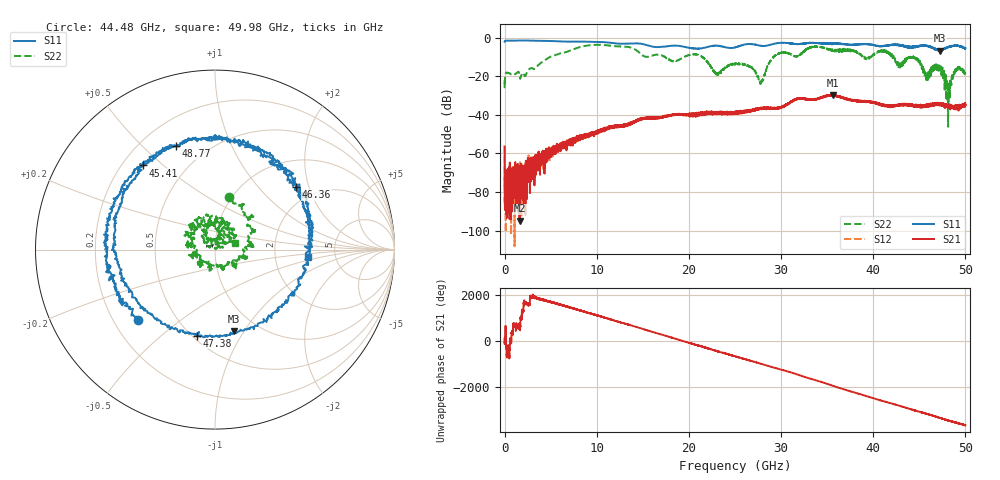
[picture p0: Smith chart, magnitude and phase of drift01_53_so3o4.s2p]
!Created with skrf (http://scikit-rf.org).
# Hz S RI R 50.0
!freq ReS11 ImS11 ReS21 ImS21 ReS12 ImS12 ReS22 ImS22
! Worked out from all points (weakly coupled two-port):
!   10001 points, 300 kHz to 50 GHz, reference 50 ohm
!   highest |S21| = -29.58 dB at 35.61 GHz (marker M1); lowest = -94.9 dB at 1.625 GHz (marker M2)
!   lowest |S11| = -6.6 dB at 47.2 GHz (marker M3), VSWR 2.76, Z = 38.8 - j45.3 ohm
!   |S11| at or under -10 dB: nowhere
!   |S22| runs from -46.1 to -3.6 dB; largest |S21 - S12| = 0.0039
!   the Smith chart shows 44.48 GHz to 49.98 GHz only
!   S11 on the Smith chart (normalised r, x): 44.48 GHz: 0.30, -0.36; 45.41 GHz: 0.28, +0.43; 46.36 GHz: 1.59, +1.65; 47.38 GHz: 0.53, -0.67; 48.77 GHz: 0.34, +0.64; 49.98 GHz: 3.14, -0.37
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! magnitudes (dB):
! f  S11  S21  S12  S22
! 300 kHz  -2.1  -56.5  -55.8  -22.0
! 255.3 MHz  -1.4  -69.7  -82.3  -18.0
! 1.625 GHz  -1.4  -94.9  -76.1  -20.0
! 8.335 GHz  -1.9  -51.7  -52.4  -4.5
! 16.67 GHz  -4.8  -41.2  -41.6  -8.7
! 20.96 GHz  -5.6  -39.5  -39.7  -8.8
! 23.07 GHz  -4.1  -38.7  -38.9  -18.5
! 25 GHz  -5.0  -39.1  -39.2  -13.7
! 27.84 GHz  -4.1  -36.7  -36.5  -22.7
! 29.48 GHz  -2.8  -36.8  -36.4  -8.8
! 33.34 GHz  -2.6  -32.2  -32.0  -4.7
! 35.61 GHz  -3.0  -29.6  -29.9  -6.7
! 41.67 GHz  -3.8  -35.4  -35.7  -7.8
! 44.48 GHz  -4.7  -35.5  -35.0  -10.4
! 45.41 GHz  -4.2  -35.7  -35.1  -16.8
! 46.36 GHz  -4.9  -34.5  -35.1  -17.5
! 47.2 GHz  -6.6  -34.4  -34.3  -15.7
! 47.38 GHz  -6.2  -34.6  -34.8  -17.8
! 48.14 GHz  -4.8  -36.2  -35.1  -36.9
! 48.77 GHz  -4.2  -36.4  -36.1  -18.2
! 49.98 GHz  -5.6  -35.2  -34.9  -18.4
! 50 GHz  -5.4  -35.1  -34.2  -18.3
